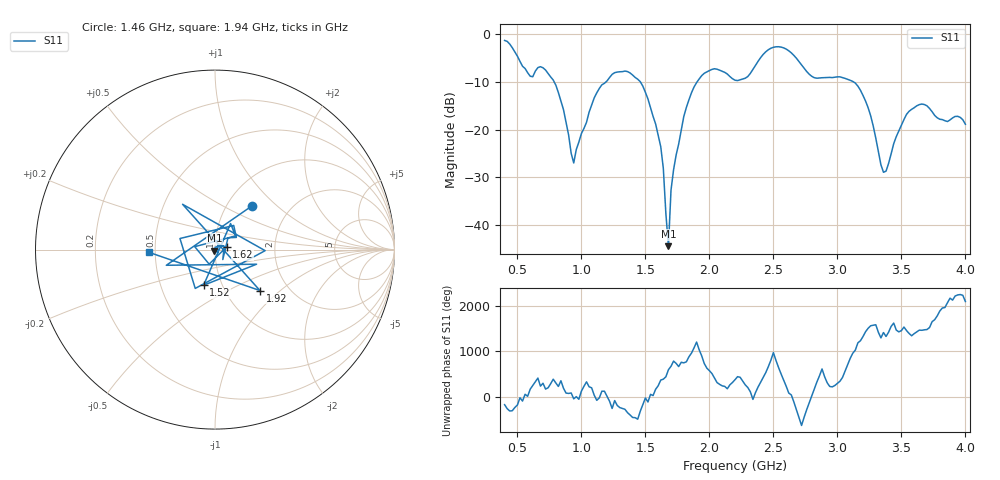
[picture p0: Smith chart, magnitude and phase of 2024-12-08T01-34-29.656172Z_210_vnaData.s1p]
!Created with skrf (http://scikit-rf.org).
# Hz S RI R 50.0
!freq ReS11 ImS11
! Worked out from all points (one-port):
!   181 points, 400 MHz to 4 GHz, reference 50 ohm
!   lowest |S11| = -44.5 dB at 1.68 GHz (marker M1), VSWR 1.01, Z = 49.7 - j0.512 ohm
!   |S11| at or under -10 dB: 787.2 MHz to 1.192 GHz (405.2 MHz wide, 40.9 % of centre); 1.461 GHz to 1.904 GHz (443.5 MHz wide, 26.4 % of centre); 3.125 GHz to end of sweep
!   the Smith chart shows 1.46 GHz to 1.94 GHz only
!   S11 on the Smith chart (normalised r, x): 1.46 GHz: 1.30, +0.70; 1.52 GHz: 0.82, -0.34; 1.62 GHz: 1.14, +0.03; 1.92 GHz: 1.44, -0.74; 1.94 GHz: 0.46, -0.02
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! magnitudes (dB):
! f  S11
! 400 MHz  -1.3
! 600 MHz  -8.8
! 720 MHz  -7.5
! 860 MHz  -15.8
! 940 MHz  -27.0
! 1.12 GHz  -12.3
! 1.3 GHz  -7.9
! 1.46 GHz  -10.0
! 1.52 GHz  -13.6
! 1.62 GHz  -23.6
! 1.64 GHz  -28.1
! 1.68 GHz  -44.5
! 1.7 GHz  -32.7
! 1.76 GHz  -23.0
! 1.82 GHz  -15.4
! 1.92 GHz  -9.4
! 1.94 GHz  -8.7
! 2.04 GHz  -7.3
! 2.2 GHz  -9.7
! 2.48 GHz  -3.0
! 2.66 GHz  -4.5
! 2.82 GHz  -9.1
! 3.1 GHz  -9.7
! 3.24 GHz  -15.4
! 3.36 GHz  -29.0
! 3.56 GHz  -16.2
! 3.68 GHz  -14.8
! 4 GHz  -18.9
